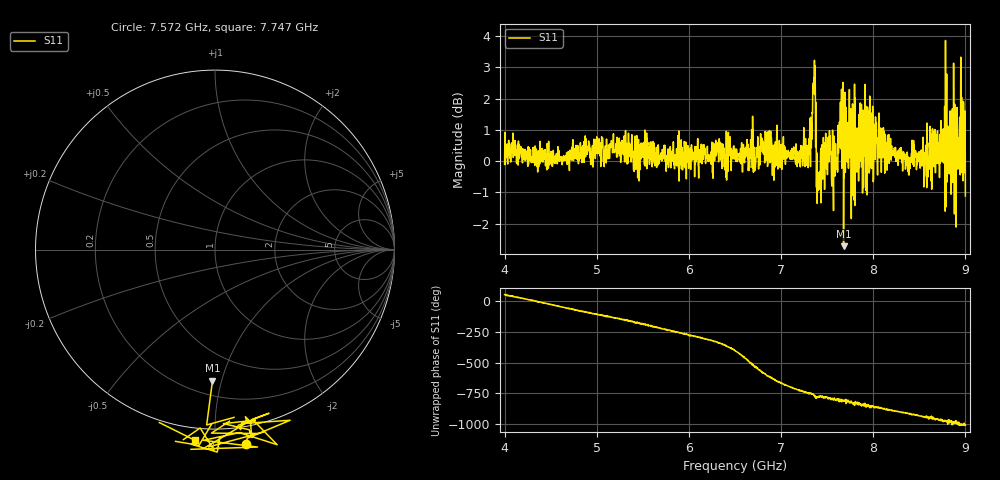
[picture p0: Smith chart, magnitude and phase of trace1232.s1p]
! Created with skrf 1.8.0 (http://scikit-rf.org).
# Hz S RI R 50.0
!freq ReS11 ImS11
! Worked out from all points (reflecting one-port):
!   1601 points, 4 GHz to 9 GHz, reference 50 ohm
!   lowest |S11| = -2.7 dB at 7.678 GHz (marker M1), VSWR 6.43, Z = 14.9 - j46.8 ohm
!   phase of S11 starts at 50 deg and turns -1057 deg over the sweep
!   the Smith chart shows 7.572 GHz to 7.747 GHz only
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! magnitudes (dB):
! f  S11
! 4 GHz  -0.1
! 4.625 GHz  -0.1
! 5.25 GHz  0.2
! 5.875 GHz  0.3
! 6.5 GHz  0.2
! 7.125 GHz  0.3
! 7.294 GHz  -0.2
! 7.347 GHz  2.2
! 7.369 GHz  3.1
! 7.409 GHz  -0.9
! 7.509 GHz  0.2
! 7.591 GHz  0.6
! 7.65 GHz  1.0
! 7.678 GHz  -2.7
! 7.731 GHz  -0.2
! 7.75 GHz  1.4
! 7.784 GHz  0.3
! 7.856 GHz  0.4
! 7.909 GHz  0.3
! 7.962 GHz  2.1
! 8.375 GHz  0.1
! 8.441 GHz  -0.2
! 8.612 GHz  0.4
! 8.759 GHz  1.0
! 8.841 GHz  1.6
! 8.959 GHz  2.0
! 8.972 GHz  0.9
! 9 GHz  -1.1
